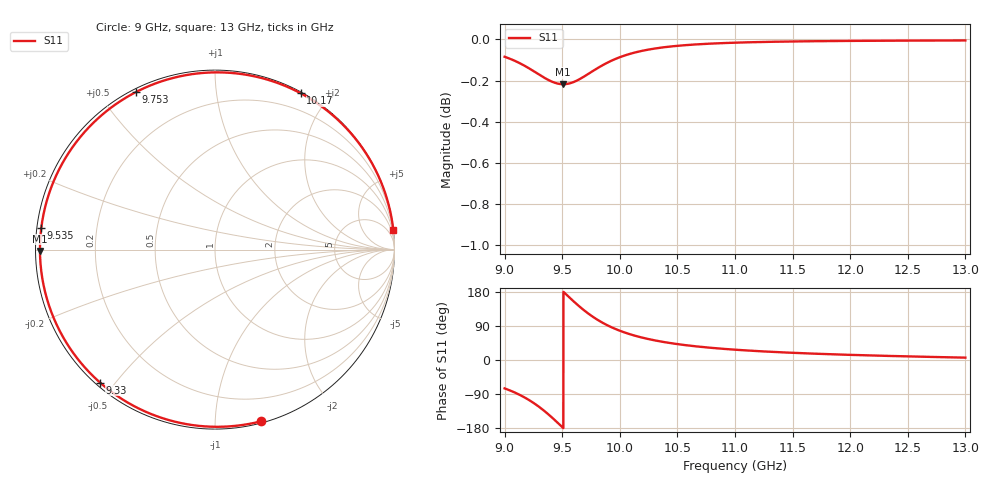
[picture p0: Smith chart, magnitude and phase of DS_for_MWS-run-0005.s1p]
! TOUCHSTONE file generated by CST DESIGN STUDIO
! Date and time: Tue Feb  4 15:47:17 2025
! Project name: C:\Work\MatlabApps\UnitCellOptimizationMatlab\CST\unitcell.cst
! Tree item: Tasks\Sweep1\SPara1\S-Parameters
! Header version: 2024
! Port assignment regex: !\s*Touchstone port\s*([0-9]+)\s*=\s*(CST MWS port|CST DES external port|CST DES block port)\s*(.+)\s* \(\"(.*)\"\)(\s*mode\s*([0-9]+))?.*
! Touchstone port assignment:
! Touchstone port 1 = CST DES external port 1 ("")
# GHz S MA R 50
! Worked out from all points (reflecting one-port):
!   4001 points, 9 GHz to 13 GHz, reference 50 ohm
!   lowest |S11| = -0.2 dB at 9.509 GHz (marker M1), VSWR 79.85, Z = 0.626 - j0.194 ohm
!   phase of S11 starts at -75 deg and turns -279 deg over the sweep
!   S11 on the Smith chart (normalised r, x): 9 GHz: 0.01, -1.31; 9.33 GHz: 0.01, -0.46; 9.535 GHz: 0.01, +0.06; 9.753 GHz: 0.01, +0.62; 10.17 GHz: 0.01, +1.69; 13 GHz: 0, +18
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9  0.9904 -74.9
9.088  0.9881 -85.8
9.191  0.9848 -101.8
9.263  0.982 -115.7
9.33  0.9794 -130.8
9.376  0.9777 -142.3
9.423  0.9764 -155.0
9.462  0.9756 -166.0
9.5  0.9753 -176.9
9.509  0.9753 -179.6
9.535  0.9754 172.9
9.589  0.9762 157.5
9.649  0.978 141.3
9.7  0.9799 128.7
9.753  0.982 116.8
9.805  0.984 106.4
9.861  0.9861 96.5
10  0.9901 77.2
10.08  0.9918 68.8
10.166  0.9933 61.2
10.318  0.9951 50.9
10.5  0.9964 42.0
10.722  0.9975 34.1
11  0.9982 27.2
11.5  0.9989 19.0
12  0.9992 13.6
12.5  0.9994 9.5
13  0.9994 6.2
